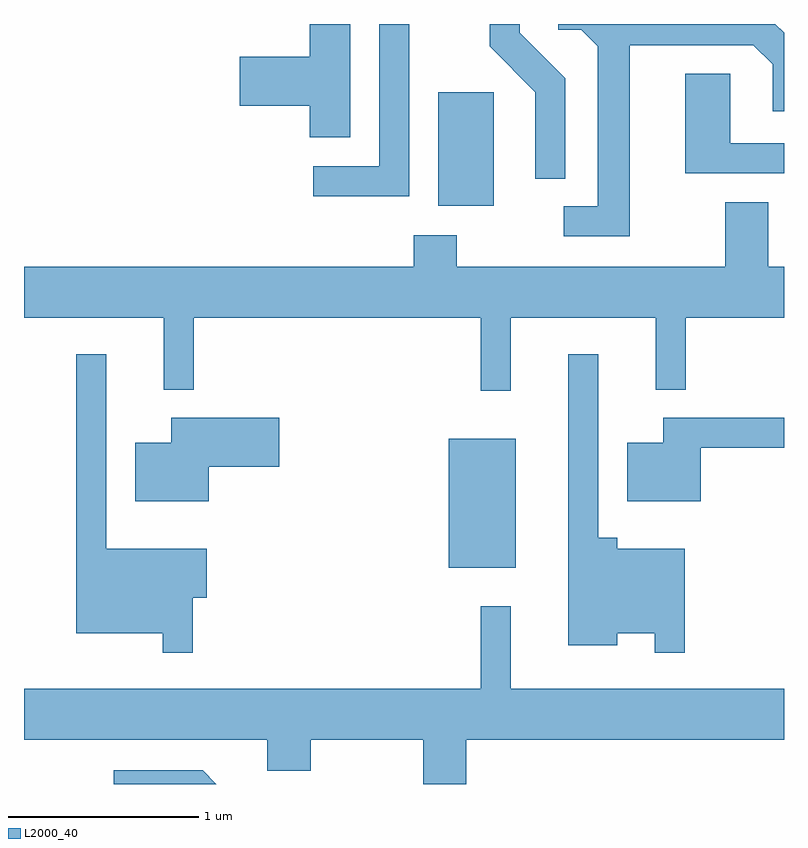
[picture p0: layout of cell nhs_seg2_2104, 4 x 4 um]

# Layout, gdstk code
import gdstk
lib = gdstk.Library(unit=1e-6, precision=1e-09)
def R(c, l, rs):  # rectangles x0, y0, x1, y1
    for r in rs: c.add(gdstk.rectangle(r[:2], r[2:], *l))
def P(c, l, *ps):  # polygons
    for p in ps: c.add(gdstk.Polygon(p, *l))
L2000_40 = (2000, 40)

nhs_seg2_2104 = lib.new_cell('nhs_seg2_2104')
R(nhs_seg2_2104, L2000_40, [(247.846,1106.941,248.199,1107.619), (247.791,1108.846,248.084,1109.444)])
P(nhs_seg2_2104, L2000_40, [(248.799,1109.691),(249.449,1109.691),(249.551,1109.589),(249.551,1109.343),(249.611,1109.343),(249.611,1109.755),(249.564,1109.802),(248.423,1109.802),(248.423,1109.771),(248.544,1109.771),(248.631,1109.684),(248.631,1108.844),(248.453,1108.844),(248.453,1108.686),(248.799,1108.686)],
  [(248.459,1109.517),(248.219,1109.757),(248.219,1109.802),(248.061,1109.802),(248.061,1109.684),(248.301,1109.444),(248.301,1108.988),(248.459,1108.988)],
  [(247.639,1109.802),(247.481,1109.802),(247.481,1109.054),(247.133,1109.054),(247.133,1108.896),(247.639,1108.896)],
  [(247.329,1109.802),(247.116,1109.802),(247.116,1109.629),(246.746,1109.629),(246.746,1109.371),(247.116,1109.371),(247.116,1109.206),(247.329,1109.206)],
  [(249.611,1109.174),(249.329,1109.174),(249.329,1109.539),(249.091,1109.539),(249.091,1109.016),(249.611,1109.016)],
  [(248.174,1108.256),(248.936,1108.256),(248.936,1107.878),(249.094,1107.878),(249.094,1108.256),(249.611,1108.256),(249.611,1108.524),(249.529,1108.524),(249.529,1108.864),(249.301,1108.864),(249.301,1108.524),(247.889,1108.524),(247.889,1108.689),(247.661,1108.689),(247.661,1108.524),(245.611,1108.524),(245.611,1108.256),(246.346,1108.256),(246.346,1107.878),(246.504,1107.878),(246.504,1108.256),(248.016,1108.256),(248.016,1107.873),(248.174,1107.873)],
  [(249.089,1107.039),(248.734,1107.039),(248.734,1107.099),(248.634,1107.099),(248.634,1108.063),(248.476,1108.063),(248.476,1106.531),(248.734,1106.531),(248.734,1106.596),(248.931,1106.596),(248.931,1106.493),(249.089,1106.493)],
  [(246.499,1106.781),(246.574,1106.781),(246.574,1107.039),(246.044,1107.039),(246.044,1108.063),(245.886,1108.063),(245.886,1106.596),(246.341,1106.596),(246.341,1106.493),(246.499,1106.493)],
  [(246.584,1107.471),(246.954,1107.471),(246.954,1107.729),(246.386,1107.729),(246.386,1107.599),(246.196,1107.599),(246.196,1107.291),(246.584,1107.291)],
  [(249.174,1107.571),(249.611,1107.571),(249.611,1107.729),(248.976,1107.729),(248.976,1107.599),(248.786,1107.599),(248.786,1107.291),(249.174,1107.291)],
  [(247.939,1106.036),(249.611,1106.036),(249.611,1106.304),(248.174,1106.304),(248.174,1106.738),(248.016,1106.738),(248.016,1106.304),(245.611,1106.304),(245.611,1106.036),(246.891,1106.036),(246.891,1105.871),(247.119,1105.871),(247.119,1106.036),(247.711,1106.036),(247.711,1105.802),(247.939,1105.802)],
  [(246.552,1105.874),(246.083,1105.874),(246.083,1105.802),(246.624,1105.802)])

lib.write_gds('nhs_seg2_2104.gds')
